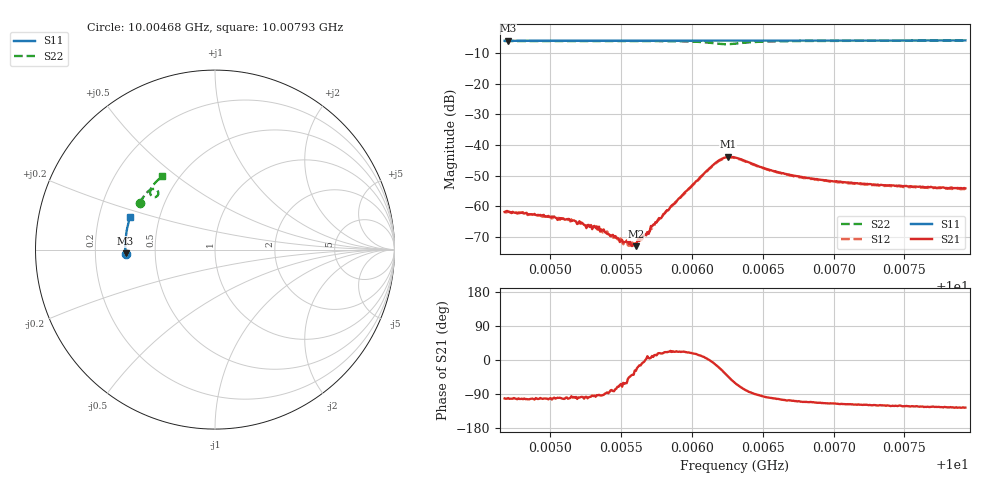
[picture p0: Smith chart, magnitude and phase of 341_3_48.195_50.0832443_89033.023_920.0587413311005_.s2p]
#  HZ  S  RI  R  50.00
! Rohde & Schwarz Vector Network Analyzer
! Rohde-Schwarz,ZNB20-2Port,1311601062101988,3.16
! Created: UTC 3/20/2024, 11:51:18 AM
! freq[Hz]  re:S11  im:S11  re:S21  im:S21  re:S12  im:S12  re:S22  im:S22
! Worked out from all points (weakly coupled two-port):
!   401 points, 10.00468 GHz to 10.00793 GHz, reference 50 ohm
!   highest |S21| = -43.89 dB at 10.00625 GHz (marker M1); lowest = -73.1 dB at 10.0056 GHz (marker M2)
!   lowest |S11| = -6.0 dB at 10.0047 GHz (marker M3), VSWR 2.99, Z = 16.7 - j0.957 ohm
!   |S11| at or under -10 dB: nowhere
!   |S22| runs from -7.2 to -6.0 dB; largest |S21 - S12| = 0.00036
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1.0004676e10  -0.4985 -0.0232  -0.00016 -0.000789  -0.000144 -0.000789  -0.4201 0.2587
1.0004701e10  -0.4984 -0.0215  -0.00015 -0.000809  -0.000119 -0.000795  -0.4194 0.2602
1.0005132e10  -0.4999 0.00647  -0.000118 -0.000607  -0.000101 -0.000596  -0.4039 0.2857
1.0005221e10  -0.5 0.0122  -6.79e-05 -0.000533  -5.78e-05 -0.000526  -0.4004 0.2911
1.0005262e10  -0.5001 0.0149  -9.43e-05 -0.000481  -1.46e-05 -0.00049  -0.3987 0.2935
1.0005327e10  -0.4999 0.0191  -2.24e-05 -0.000469  5.3e-06 -0.000425  -0.3959 0.2974
1.0005506e10  -0.4997 0.0308  9.36e-05 -0.000264  8.79e-05 -0.000247  -0.3876 0.3084
1.000553e10  -0.4997 0.0322  0.000127 -0.000227  0.000128 -0.000222  -0.3864 0.3098
1.0005587e10  -0.4995 0.036  0.000188 -0.000152  0.000208 -0.000107  -0.3831 0.3133
1.0005604e10  -0.4995 0.037  0.000195 -0.000106  0.000221 -0.000111  -0.3825 0.3143
1.0005636e10  -0.4995 0.0392  0.000301 -7.68e-05  0.00028 -4.49e-05  -0.3806 0.3164
1.0005685e10  -0.4992 0.0424  0.000368 6.45e-05  0.000374 3.78e-05  -0.3777 0.3194
1.0005726e10  -0.499 0.0449  0.000494 6.99e-05  0.000469 8.15e-05  -0.375 0.3221
1.0005766e10  -0.4989 0.0476  0.000608 0.000199  0.000567 0.000206  -0.3721 0.3247
1.0006124e10  -0.4964 0.0708  0.00419 -5.19e-05  0.00411 0.000126  -0.3242 0.3323
1.0006198e10  -0.4958 0.0752  0.00528 -0.00219  0.00527 -0.00186  -0.3155 0.313
1.0006255e10  -0.4955 0.0786  0.00464 -0.00439  0.00471 -0.00406  -0.3248 0.2963
1.0006303e10  -0.4952 0.0815  0.00306 -0.00541  0.00323 -0.00517  -0.3396 0.2923
1.0006564e10  -0.4931 0.0982  -0.000718 -0.00374  -0.000487 -0.00373  -0.3605 0.3292
1.0006848e10  -0.4896 0.1165  -0.00101 -0.00259  -0.000917 -0.00264  -0.3484 0.3539
1.0007394e10  -0.4815 0.1507  -0.00112 -0.00189  -0.000997 -0.00189  -0.3214 0.3845
1.0007931e10  -0.4711 0.1835  -0.00114 -0.00159  -0.00106 -0.00161  -0.2942 0.4087
